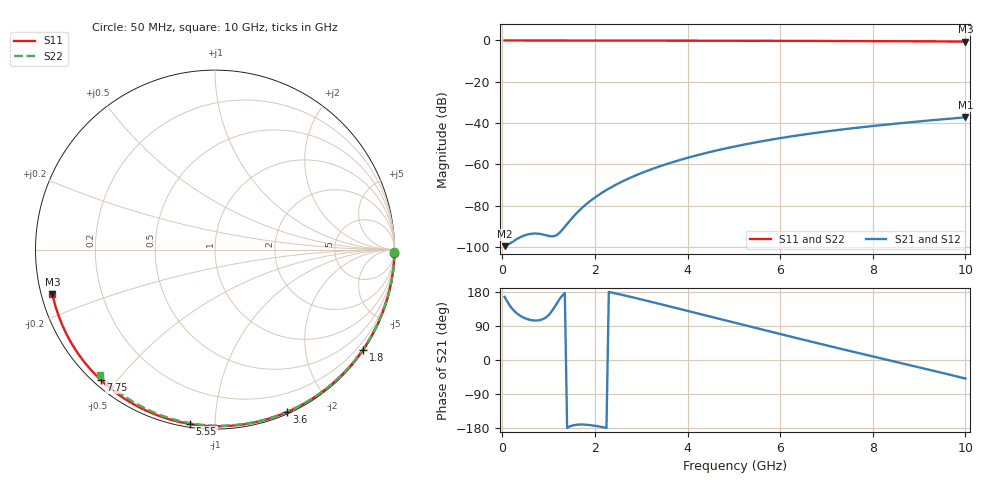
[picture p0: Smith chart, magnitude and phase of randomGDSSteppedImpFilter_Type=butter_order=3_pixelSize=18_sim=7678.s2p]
! freq	dB(S11)	phase(S11)	dB(S12)	phase(S12)
!  dB(S21)	phase(S21)	dB(S22)	phase(S22)
!S-par simulation data
#  GHz  S  DB  R 50
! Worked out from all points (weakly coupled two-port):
!   200 points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, 50 MHz to 10 GHz, reference 50 ohm
!   highest |S21| = -37.24 dB at 10 GHz (marker M1); lowest = -99.6 dB at 50 MHz (marker M2)
!   lowest |S11| = -0.5 dB at 10 GHz (marker M3), VSWR 32.01, Z = 1.59 - j6.73 ohm
!   |S11| at or under -10 dB: nowhere
!   |S22| runs from -0.4 to 0.0 dB; largest |S21 - S12| = 0
!   S11 on the Smith chart (normalised r, x): 50 MHz: open; 1.8 GHz: 0.03, -3.26; 3.6 GHz: 0.02, -1.53; 5.55 GHz: 0.02, -0.87; 7.75 GHz: 0.02, -0.45; 10 GHz: 0.03, -0.13
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0.05  -0.00 -1.0  -99.64 166.7  -99.64 166.7  -0.00 -0.8
0.45  -0.01 -8.7  -94.68 112.4  -94.68 112.4  -0.01 -6.9
0.9  -0.02 -17.2  -94.10 109.2  -94.10 109.2  -0.02 -13.7
1.3  -0.03 -24.8  -91.60 170.6  -91.60 170.6  -0.02 -19.7
1.75  -0.04 -33.2  -80.53 -170.4  -80.53 -170.4  -0.03 -26.4
1.8  -0.04 -34.1  -79.55 -170.7  -79.55 -170.7  -0.03 -27.2
1.95  -0.05 -36.8  -76.89 -172.7  -76.89 -172.7  -0.04 -29.4
2.1  -0.05 -39.6  -74.53 -175.6  -74.53 -175.6  -0.04 -31.6
2.3  -0.06 -43.2  -71.76 179.6  -71.76 179.6  -0.04 -34.5
2.5  -0.06 -46.8  -69.33 174.3  -69.33 174.3  -0.05 -37.4
2.9  -0.07 -54.0  -65.19 162.9  -65.19 162.9  -0.06 -43.2
3.4  -0.08 -62.7  -60.97 147.9  -60.97 147.9  -0.07 -50.3
3.6  -0.09 -66.2  -59.49 141.8  -59.49 141.8  -0.07 -53.1
4.3  -0.11 -78.0  -55.05 120.5  -55.05 120.5  -0.09 -62.7
5.05  -0.14 -90.2  -51.21 97.5  -51.21 97.5  -0.11 -72.8
5.55  -0.16 -98.1  -49.04 82.2  -49.04 82.2  -0.13 -79.3
6.1  -0.19 -106.6  -46.95 65.6  -46.95 65.6  -0.15 -86.3
6.7  -0.23 -115.7  -44.96 47.5  -44.96 47.5  -0.18 -93.8
7.75  -0.30 -131.3  -42.05 16.7  -42.05 16.7  -0.25 -106.5
8.35  -0.36 -140.2  -40.63 -0.6  -40.63 -0.6  -0.29 -113.5
9.2  -0.45 -152.7  -38.80 -25.1  -38.80 -25.1  -0.36 -123.3
10  -0.54 -164.6  -37.24 -49.0  -37.24 -49.0  -0.44 -132.5
